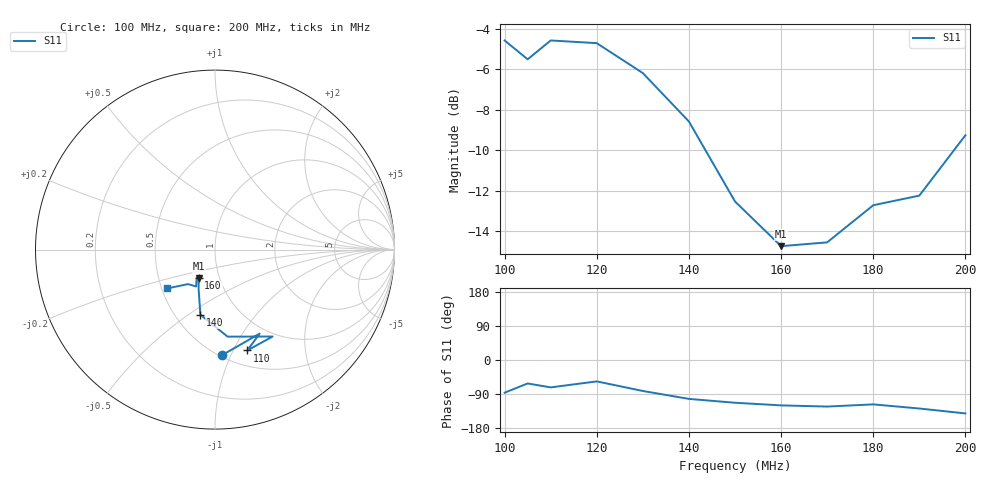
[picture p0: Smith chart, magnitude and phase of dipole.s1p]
! Dipole antenna, 100-200 MHz, reflection coefficient at the feedpoint.
! Same measurement as gam/dipole.gam and sch/Dipole.sch - Example 4.
# MHZ S MA R 50
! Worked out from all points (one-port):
!   12 points, 100 MHz to 200 MHz, reference 50 ohm
!   lowest |S11| = -14.8 dB at 160 MHz (marker M1), VSWR 1.45, Z = 39.8 - j13.1 ohm
!   |S11| at or under -10 dB: 143.6 MHz to 197.5 MHz (53.98 MHz wide, 31.6 % of centre)
!   S11 on the Smith chart (normalised r, x): 100 MHz: 0.51, -0.93; 110 MHz: 0.66, -1.14; 140 MHz: 0.66, -0.56; 160 MHz: 0.80, -0.26; 200 MHz: 0.53, -0.26
100  0.59 -86.3
105  0.53 -62.0
110  0.59 -72.3
120  0.581 -56.5
130  0.49 -81.8
140  0.372 -102.6
150  0.236 -112.8
160  0.183 -119.8
170  0.187 -122.9
180  0.231 -117.1
190  0.244 -128.0
200  0.344 -141.0
